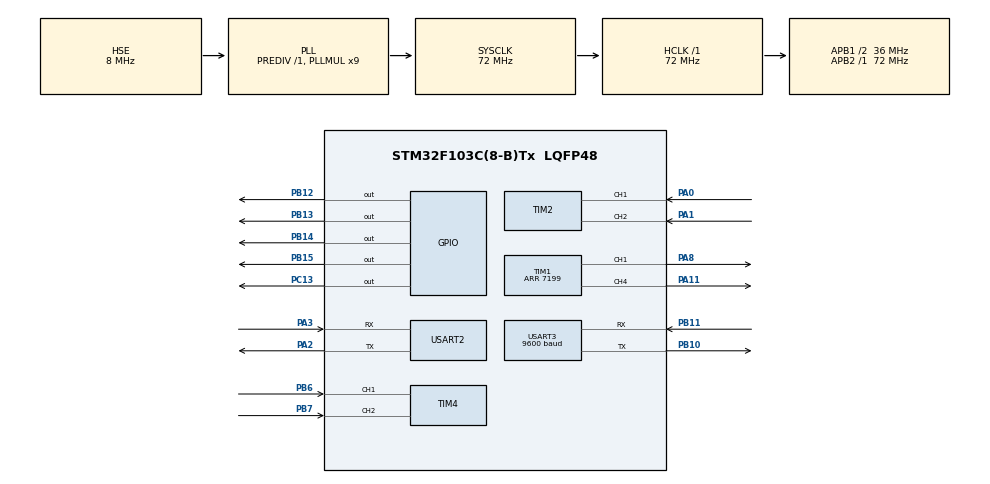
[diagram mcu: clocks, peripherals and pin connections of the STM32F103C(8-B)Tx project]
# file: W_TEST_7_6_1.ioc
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Dma.Request0=USART2_RX
Dma.Request1=USART2_TX
Dma.USART2_RX.0.Direction=DMA_PERIPH_TO_MEMORY
Dma.USART2_RX.0.Instance=DMA1_Channel6
Dma.USART2_RX.0.MemDataAlignment=DMA_MDATAALIGN_BYTE
Dma.USART2_RX.0.MemInc=DMA_MINC_ENABLE
Dma.USART2_RX.0.Mode=DMA_NORMAL
Dma.USART2_RX.0.PeriphDataAlignment=DMA_PDATAALIGN_BYTE
Dma.USART2_RX.0.PeriphInc=DMA_PINC_DISABLE
Dma.USART2_RX.0.Priority=DMA_PRIORITY_LOW
Dma.USART2_TX.1.Direction=DMA_MEMORY_TO_PERIPH
Dma.USART2_TX.1.Instance=DMA1_Channel7
Dma.USART2_TX.1.MemDataAlignment=DMA_MDATAALIGN_BYTE
Dma.USART2_TX.1.MemInc=DMA_MINC_ENABLE
Dma.USART2_TX.1.Mode=DMA_NORMAL
Dma.USART2_TX.1.PeriphDataAlignment=DMA_PDATAALIGN_BYTE
Dma.USART2_TX.1.PeriphInc=DMA_PINC_DISABLE
Dma.USART2_TX.1.Priority=DMA_PRIORITY_LOW
Mcu.Family=STM32F1
Mcu.Name=STM32F103C(8-B)Tx
Mcu.Package=LQFP48
NVIC.DMA1_Channel6_IRQn=true\:0\:0\:false\:false\:true\:false\:true\:true
NVIC.DMA1_Channel7_IRQn=true\:0\:0\:false\:false\:true\:false\:true\:true
NVIC.PriorityGroup=NVIC_PRIORITYGROUP_4
NVIC.TIM3_IRQn=true\:0\:0\:false\:false\:true\:true\:true\:true
NVIC.USART2_IRQn=true\:0\:0\:false\:false\:true\:true\:true\:true
NVIC.USART3_IRQn=true\:0\:0\:false\:false\:true\:true\:true\:true
PA0-WKUP.Signal=S_TIM2_CH1_ETR
PA1.Signal=S_TIM2_CH2
PA11.Signal=S_TIM1_CH4
PA13.Mode=Serial_Wire
PA13.Signal=SYS_JTMS-SWDIO
PA14.Mode=Serial_Wire
PA14.Signal=SYS_JTCK-SWCLK
PA2.GPIO_Mode=GPIO_MODE_AF_PP
PA2.GPIO_Speed=GPIO_SPEED_FREQ_HIGH
PA2.Mode=Asynchronous
PA2.Signal=USART2_TX
PA3.GPIO_Mode=GPIO_MODE_INPUT
PA3.Mode=Asynchronous
PA3.Signal=USART2_RX
PA8.Signal=S_TIM1_CH1
PB10.Mode=Asynchronous
PB10.Signal=USART3_TX
PB11.Mode=Asynchronous
PB11.Signal=USART3_RX
PB12.Signal=GPIO_Output
PB13.Signal=GPIO_Output
PB14.Signal=GPIO_Output
PB15.Signal=GPIO_Output
PB6.Signal=S_TIM4_CH1
PB7.Signal=S_TIM4_CH2
PC13-TAMPER-RTC.PinState=GPIO_PIN_SET
PC13-TAMPER-RTC.Signal=GPIO_Output
PC14-OSC32_IN.Mode=LSE-External-Oscillator
PC14-OSC32_IN.Signal=RCC_OSC32_IN
PC15-OSC32_OUT.Mode=LSE-External-Oscillator
PC15-OSC32_OUT.Signal=RCC_OSC32_OUT
PD0-OSC_IN.Mode=HSE-External-Oscillator
PD0-OSC_IN.Signal=RCC_OSC_IN
PD1-OSC_OUT.Mode=HSE-External-Oscillator
PD1-OSC_OUT.Signal=RCC_OSC_OUT
ProjectManager.HeapSize=0x200
ProjectManager.StackSize=0x400
ProjectManager.TargetToolchain=MDK-ARM V5.32
RCC.AHBFreq_Value=72000000
RCC.APB1CLKDivider=RCC_HCLK_DIV2
RCC.APB1Freq_Value=36000000
RCC.APB1TimFreq_Value=72000000
RCC.APB2Freq_Value=72000000
RCC.APB2TimFreq_Value=72000000
RCC.HCLKFreq_Value=72000000
RCC.PLLMUL=RCC_PLL_MUL9
RCC.PLLSourceVirtual=RCC_PLLSOURCE_HSE
RCC.SYSCLKFreq_VALUE=72000000
RCC.SYSCLKSource=RCC_SYSCLKSOURCE_PLLCLK
RCC.USBFreq_Value=72000000
SH.S_TIM1_CH1.0=TIM1_CH1,PWM Generation1 CH1
SH.S_TIM1_CH4.0=TIM1_CH4,PWM Generation4 CH4
SH.S_TIM2_CH1_ETR.0=TIM2_CH1,Encoder_Interface
SH.S_TIM2_CH2.0=TIM2_CH2,Encoder_Interface
SH.S_TIM4_CH1.0=TIM4_CH1,Encoder_Interface
SH.S_TIM4_CH2.0=TIM4_CH2,Encoder_Interface
TIM1.Channel-PWM\ Generation1\ CH1=TIM_CHANNEL_1
TIM1.Channel-PWM\ Generation4\ CH4=TIM_CHANNEL_4
TIM1.Period=7199
TIM1.Pulse-PWM\ Generation1\ CH1=7200
TIM1.Pulse-PWM\ Generation4\ CH4=7200
TIM2.EncoderMode=TIM_ENCODERMODE_TI12
TIM3.Period=4999
TIM3.Prescaler=7199
TIM4.EncoderMode=TIM_ENCODERMODE_TI12
USART2.VirtualMode=VM_ASYNC
USART3.BaudRate=9600
USART3.VirtualMode=VM_ASYNC
VP_TIM3_VS_ClockSourceINT.Mode=Internal
board=custom

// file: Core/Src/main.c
/* USER CODE BEGIN Header */
/**
  ******************************************************************************
  * @file           : main.c
  * @brief          : Main program body
  ******************************************************************************
  * @attention
  *
  * Copyright (c) 2024 STMicroelectronics.
  * All rights reserved.
  *
  * This software is licensed under terms that can be found in the LICENSE file
  * in the root directory of this software component.
  * If no LICENSE file comes with this software, it is provided AS-IS.
  *
  ******************************************************************************
  */
/* USER CODE END Header */
#include "main.h"

/* USER CODE BEGIN Includes */
#include "motor.h"
#include "encoder.h"
#include "pid.h"
/* USER CODE END Includes */

TIM_HandleTypeDef htim1;
TIM_HandleTypeDef htim2;
TIM_HandleTypeDef htim3;
TIM_HandleTypeDef htim4;

UART_HandleTypeDef huart2;
UART_HandleTypeDef huart3;
DMA_HandleTypeDef hdma_usart2_rx;
DMA_HandleTypeDef hdma_usart2_tx;

/* USER CODE BEGIN PV */
uint8_t receive_buff[255];
int data_length=7;
#define USART_TX_LEN 7
uint8_t USART_TX_BUF[USART_TX_LEN];

RecData rec_data;

/* USER CODE END PV */

void SystemClock_Config(void);
static void MX_GPIO_Init(void);
static void MX_DMA_Init(void);
static void MX_TIM1_Init(void);
static void MX_TIM2_Init(void);
static void MX_TIM4_Init(void);
static void MX_TIM3_Init(void);
static void MX_USART3_UART_Init(void);
static void MX_USART2_UART_Init(void);
/* USER CODE BEGIN PFP */
void HAL_TIM_PeriodElapsedCallback(TIM_HandleTypeDef *htim)
	{
		if(htim->Instance == TIM3)
		Control();
	}

/* USER CODE END PFP */

/* USER CODE BEGIN 0 */
void recieve(void);
void send(void);
/* USER CODE END 0 */

int main(void)
{

  /* MCU Configuration--------------------------------------------------------*/

  /* Reset of all peripherals, Initializes the Flash interface and the Systick. */
  HAL_Init();

  /* Configure the system clock */
  SystemClock_Config();

  /* Initialize all configured peripherals */
  MX_GPIO_Init();
  MX_DMA_Init();
  MX_TIM1_Init();
  MX_TIM2_Init();
  MX_TIM4_Init();
  MX_TIM3_Init();
  MX_USART3_UART_Init();
  MX_USART2_UART_Init();
  /* USER CODE BEGIN 2 */
	HAL_TIM_PWM_Start(&htim1,TIM_CHANNEL_1);
	HAL_TIM_PWM_Start(&htim1,TIM_CHANNEL_4);
	HAL_TIM_Encoder_Start(&htim2,TIM_CHANNEL_ALL);
	HAL_TIM_Encoder_Start(&htim4,TIM_CHANNEL_ALL);
	HAL_TIM_Base_Start_IT(&htim3);
	MX_DMA_Init();
  /* USER CODE END 2 */

  /* Infinite loop */
  /* USER CODE BEGIN WHILE */
  while (1)
  {
	 HAL_UART_Receive_DMA(&huart2, (uint8_t*)receive_buff, data_length);
	  recieve();

	  HAL_Delay(15);
    /* USER CODE END WHILE */

  }
}

void SystemClock_Config(void)
{
  RCC_OscInitTypeDef RCC_OscInitStruct = {0};
  RCC_ClkInitTypeDef RCC_ClkInitStruct = {0};

  /** Initializes the RCC Oscillators according to the specified parameters
  * in the RCC_OscInitTypeDef structure.
  */
  RCC_OscInitStruct.OscillatorType = RCC_OSCILLATORTYPE_HSE;
  RCC_OscInitStruct.HSEState = RCC_HSE_ON;
  RCC_OscInitStruct.HSEPredivValue = RCC_HSE_PREDIV_DIV1;
  RCC_OscInitStruct.HSIState = RCC_HSI_ON;
  RCC_OscInitStruct.PLL.PLLState = RCC_PLL_ON;
  RCC_OscInitStruct.PLL.PLLSource = RCC_PLLSOURCE_HSE;
  RCC_OscInitStruct.PLL.PLLMUL = RCC_PLL_MUL9;
  if (HAL_RCC_OscConfig(&RCC_OscInitStruct) != HAL_OK)
  {
    Error_Handler();
  }

  /** Initializes the CPU, AHB and APB buses clocks
  */
  RCC_ClkInitStruct.ClockType = RCC_CLOCKTYPE_HCLK|RCC_CLOCKTYPE_SYSCLK
                              |RCC_CLOCKTYPE_PCLK1|RCC_CLOCKTYPE_PCLK2;
  RCC_ClkInitStruct.SYSCLKSource = RCC_SYSCLKSOURCE_PLLCLK;
  RCC_ClkInitStruct.AHBCLKDivider = RCC_SYSCLK_DIV1;
  RCC_ClkInitStruct.APB1CLKDivider = RCC_HCLK_DIV2;
  RCC_ClkInitStruct.APB2CLKDivider = RCC_HCLK_DIV1;

  if (HAL_RCC_ClockConfig(&RCC_ClkInitStruct, FLASH_LATENCY_2) != HAL_OK)
  {
    Error_Handler();
  }
}

static void MX_TIM1_Init(void)
{

  TIM_MasterConfigTypeDef sMasterConfig = {0};
  TIM_OC_InitTypeDef sConfigOC = {0};
  TIM_BreakDeadTimeConfigTypeDef sBreakDeadTimeConfig = {0};

  htim1.Instance = TIM1;
  htim1.Init.Prescaler = 0;
  htim1.Init.CounterMode = TIM_COUNTERMODE_UP;
  htim1.Init.Period = 7199;
  htim1.Init.ClockDivision = TIM_CLOCKDIVISION_DIV1;
  htim1.Init.RepetitionCounter = 0;
  htim1.Init.AutoReloadPreload = TIM_AUTORELOAD_PRELOAD_DISABLE;
  if (HAL_TIM_PWM_Init(&htim1) != HAL_OK)
  {
    Error_Handler();
  }
  sMasterConfig.MasterOutputTrigger = TIM_TRGO_RESET;
  sMasterConfig.MasterSlaveMode = TIM_MASTERSLAVEMODE_DISABLE;
  if (HAL_TIMEx_MasterConfigSynchronization(&htim1, &sMasterConfig) != HAL_OK)
  {
    Error_Handler();
  }
  sConfigOC.OCMode = TIM_OCMODE_PWM1;
  sConfigOC.Pulse = 7200;
  sConfigOC.OCPolarity = TIM_OCPOLARITY_HIGH;
  sConfigOC.OCNPolarity = TIM_OCNPOLARITY_HIGH;
  sConfigOC.OCFastMode = TIM_OCFAST_DISABLE;
  sConfigOC.OCIdleState = TIM_OCIDLESTATE_RESET;
  sConfigOC.OCNIdleState = TIM_OCNIDLESTATE_RESET;
  if (HAL_TIM_PWM_ConfigChannel(&htim1, &sConfigOC, TIM_CHANNEL_1) != HAL_OK)
  {
    Error_Handler();
  }
  if (HAL_TIM_PWM_ConfigChannel(&htim1, &sConfigOC, TIM_CHANNEL_4) != HAL_OK)
  {
    Error_Handler();
  }
  sBreakDeadTimeConfig.OffStateRunMode = TIM_OSSR_DISABLE;
  sBreakDeadTimeConfig.OffStateIDLEMode = TIM_OSSI_DISABLE;
  sBreakDeadTimeConfig.LockLevel = TIM_LOCKLEVEL_OFF;
  sBreakDeadTimeConfig.DeadTime = 0;
  sBreakDeadTimeConfig.BreakState = TIM_BREAK_DISABLE;
  sBreakDeadTimeConfig.BreakPolarity = TIM_BREAKPOLARITY_HIGH;
  sBreakDeadTimeConfig.AutomaticOutput = TIM_AUTOMATICOUTPUT_DISABLE;
  if (HAL_TIMEx_ConfigBreakDeadTime(&htim1, &sBreakDeadTimeConfig) != HAL_OK)
  {
    Error_Handler();
  }
  HAL_TIM_MspPostInit(&htim1);

}

static void MX_TIM2_Init(void)
{

  TIM_Encoder_InitTypeDef sConfig = {0};
  TIM_MasterConfigTypeDef sMasterConfig = {0};

  htim2.Instance = TIM2;
  htim2.Init.Prescaler = 0;
  htim2.Init.CounterMode = TIM_COUNTERMODE_UP;
  htim2.Init.Period = 65535;
  htim2.Init.ClockDivision = TIM_CLOCKDIVISION_DIV1;
  htim2.Init.AutoReloadPreload = TIM_AUTORELOAD_PRELOAD_DISABLE;
  sConfig.EncoderMode = TIM_ENCODERMODE_TI12;
  sConfig.IC1Polarity = TIM_ICPOLARITY_RISING;
  sConfig.IC1Selection = TIM_ICSELECTION_DIRECTTI;
  sConfig.IC1Prescaler = TIM_ICPSC_DIV1;
  sConfig.IC1Filter = 0;
  sConfig.IC2Polarity = TIM_ICPOLARITY_RISING;
  sConfig.IC2Selection = TIM_ICSELECTION_DIRECTTI;
  sConfig.IC2Prescaler = TIM_ICPSC_DIV1;
  sConfig.IC2Filter = 0;
  if (HAL_TIM_Encoder_Init(&htim2, &sConfig) != HAL_OK)
  {
    Error_Handler();
  }
  sMasterConfig.MasterOutputTrigger = TIM_TRGO_RESET;
  sMasterConfig.MasterSlaveMode = TIM_MASTERSLAVEMODE_DISABLE;
  if (HAL_TIMEx_MasterConfigSynchronization(&htim2, &sMasterConfig) != HAL_OK)
  {
    Error_Handler();
  }

}

static void MX_TIM3_Init(void)
{

  TIM_ClockConfigTypeDef sClockSourceConfig = {0};
  TIM_MasterConfigTypeDef sMasterConfig = {0};

  htim3.Instance = TIM3;
  htim3.Init.Prescaler = 7199;
  htim3.Init.CounterMode = TIM_COUNTERMODE_UP;
  htim3.Init.Period = 4999;
  htim3.Init.ClockDivision = TIM_CLOCKDIVISION_DIV1;
  htim3.Init.AutoReloadPreload = TIM_AUTORELOAD_PRELOAD_DISABLE;
  if (HAL_TIM_Base_Init(&htim3) != HAL_OK)
  {
    Error_Handler();
  }
  sClockSourceConfig.ClockSource = TIM_CLOCKSOURCE_INTERNAL;
  if (HAL_TIM_ConfigClockSource(&htim3, &sClockSourceConfig) != HAL_OK)
  {
    Error_Handler();
  }
  sMasterConfig.MasterOutputTrigger = TIM_TRGO_RESET;
  sMasterConfig.MasterSlaveMode = TIM_MASTERSLAVEMODE_DISABLE;
  if (HAL_TIMEx_MasterConfigSynchronization(&htim3, &sMasterConfig) != HAL_OK)
  {
    Error_Handler();
  }

}

static void MX_TIM4_Init(void)
{

  TIM_Encoder_InitTypeDef sConfig = {0};
  TIM_MasterConfigTypeDef sMasterConfig = {0};

  htim4.Instance = TIM4;
  htim4.Init.Prescaler = 0;
  htim4.Init.CounterMode = TIM_COUNTERMODE_UP;
  htim4.Init.Period = 65535;
  htim4.Init.ClockDivision = TIM_CLOCKDIVISION_DIV1;
  htim4.Init.AutoReloadPreload = TIM_AUTORELOAD_PRELOAD_DISABLE;
  sConfig.EncoderMode = TIM_ENCODERMODE_TI12;
  sConfig.IC1Polarity = TIM_ICPOLARITY_RISING;
  sConfig.IC1Selection = TIM_ICSELECTION_DIRECTTI;
  sConfig.IC1Prescaler = TIM_ICPSC_DIV1;
  sConfig.IC1Filter = 0;
  sConfig.IC2Polarity = TIM_ICPOLARITY_RISING;
  sConfig.IC2Selection = TIM_ICSELECTION_DIRECTTI;
  sConfig.IC2Prescaler = TIM_ICPSC_DIV1;
  sConfig.IC2Filter = 0;
  if (HAL_TIM_Encoder_Init(&htim4, &sConfig) != HAL_OK)
  {
    Error_Handler();
  }
  sMasterConfig.MasterOutputTrigger = TIM_TRGO_RESET;
  sMasterConfig.MasterSlaveMode = TIM_MASTERSLAVEMODE_DISABLE;
  if (HAL_TIMEx_MasterConfigSynchronization(&htim4, &sMasterConfig) != HAL_OK)
  {
    Error_Handler();
  }

}

static void MX_USART2_UART_Init(void)
{

  huart2.Instance = USART2;
  huart2.Init.BaudRate = 115200;
  huart2.Init.WordLength = UART_WORDLENGTH_8B;
  huart2.Init.StopBits = UART_STOPBITS_1;
  huart2.Init.Parity = UART_PARITY_NONE;
  huart2.Init.Mode = UART_MODE_TX_RX;
  huart2.Init.HwFlowCtl = UART_HWCONTROL_NONE;
  huart2.Init.OverSampling = UART_OVERSAMPLING_16;
  if (HAL_UART_Init(&huart2) != HAL_OK)
  {
    Error_Handler();
  }

}

static void MX_USART3_UART_Init(void)
{

  huart3.Instance = USART3;
  huart3.Init.BaudRate = 9600;
  huart3.Init.WordLength = UART_WORDLENGTH_8B;
  huart3.Init.StopBits = UART_STOPBITS_1;
  huart3.Init.Parity = UART_PARITY_NONE;
  huart3.Init.Mode = UART_MODE_TX_RX;
  huart3.Init.HwFlowCtl = UART_HWCONTROL_NONE;
  huart3.Init.OverSampling = UART_OVERSAMPLING_16;
  if (HAL_UART_Init(&huart3) != HAL_OK)
  {
    Error_Handler();
  }

}

static void MX_DMA_Init(void)
{

  /* DMA controller clock enable */
  __HAL_RCC_DMA1_CLK_ENABLE();

  /* DMA interrupt init */
  /* DMA1_Channel6_IRQn interrupt configuration */
  HAL_NVIC_SetPriority(DMA1_Channel6_IRQn, 0, 0);
  HAL_NVIC_EnableIRQ(DMA1_Channel6_IRQn);
  /* DMA1_Channel7_IRQn interrupt configuration */
  HAL_NVIC_SetPriority(DMA1_Channel7_IRQn, 0, 0);
  HAL_NVIC_EnableIRQ(DMA1_Channel7_IRQn);

}

static void MX_GPIO_Init(void)
{
  GPIO_InitTypeDef GPIO_InitStruct = {0};

  /* GPIO Ports Clock Enable */
  __HAL_RCC_GPIOC_CLK_ENABLE();
  __HAL_RCC_GPIOD_CLK_ENABLE();
  __HAL_RCC_GPIOA_CLK_ENABLE();
  __HAL_RCC_GPIOB_CLK_ENABLE();

  /*Configure GPIO pin Output Level */
  HAL_GPIO_WritePin(GPIOC, GPIO_PIN_13, GPIO_PIN_SET);

  /*Configure GPIO pin Output Level */
  HAL_GPIO_WritePin(GPIOB, GPIO_PIN_12|GPIO_PIN_13|GPIO_PIN_14|GPIO_PIN_15, GPIO_PIN_RESET);

  /*Configure GPIO pin : PC13 */
  GPIO_InitStruct.Pin = GPIO_PIN_13;
  GPIO_InitStruct.Mode = GPIO_MODE_OUTPUT_PP;
  GPIO_InitStruct.Pull = GPIO_NOPULL;
  GPIO_InitStruct.Speed = GPIO_SPEED_FREQ_LOW;
  HAL_GPIO_Init(GPIOC, &GPIO_InitStruct);

  /*Configure GPIO pins : PB12 PB13 PB14 PB15 */
  GPIO_InitStruct.Pin = GPIO_PIN_12|GPIO_PIN_13|GPIO_PIN_14|GPIO_PIN_15;
  GPIO_InitStruct.Mode = GPIO_MODE_OUTPUT_PP;
  GPIO_InitStruct.Pull = GPIO_NOPULL;
  GPIO_InitStruct.Speed = GPIO_SPEED_FREQ_LOW;
  HAL_GPIO_Init(GPIOB, &GPIO_InitStruct);

}

/* USER CODE BEGIN 4 */
void recieve(void)
	{
		rec_data.xunji = *((int *) (&receive_buff[1]));
		rec_data.aim_or_not=*((char *) (&receive_buff[5]));
}
/* USER CODE END 4 */

void Error_Handler(void)
{
  __disable_irq();
  while (1)
  {
  }
}
